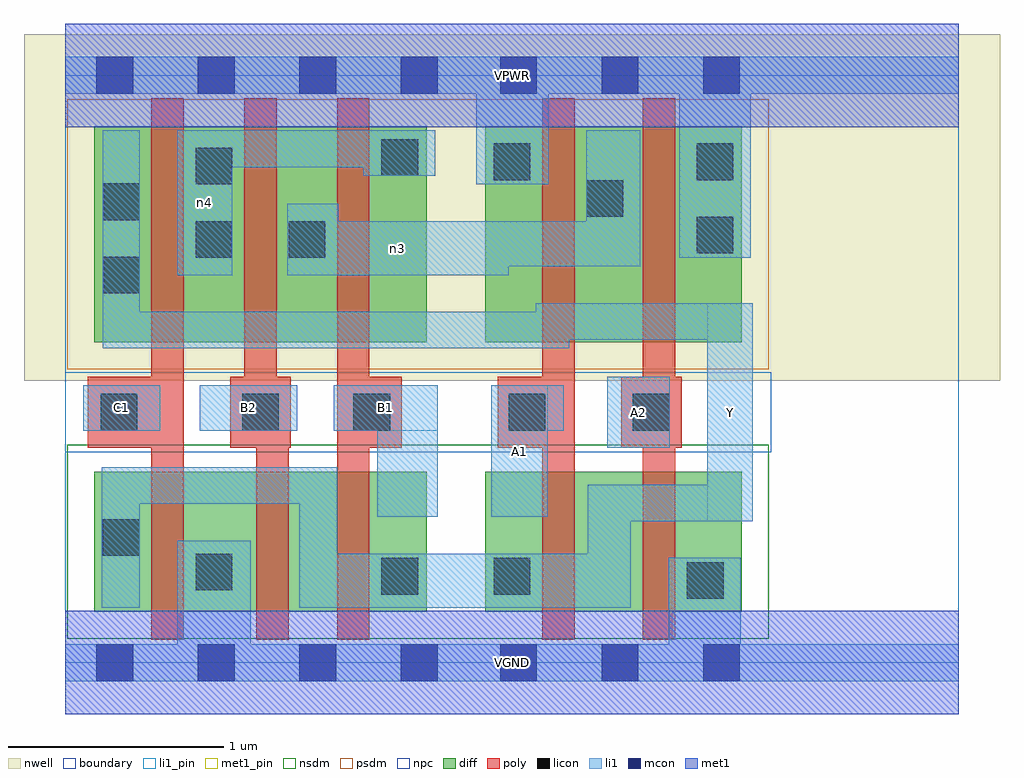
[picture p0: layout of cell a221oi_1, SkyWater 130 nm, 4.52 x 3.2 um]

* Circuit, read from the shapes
.subckt a221oi_1 A1 A2 B1 B2 C1 VGND VPWR Y n3 n4
XM1 VGND C1 Y VSUBS sky130_fd_pr__nfet_01v8 w=0.65 l=0.15
XM2 n1 B2 VGND VSUBS sky130_fd_pr__nfet_01v8 w=0.65 l=0.15
XM3 Y B1 n1 VSUBS sky130_fd_pr__nfet_01v8 w=0.65 l=0.15
XM4 n2 A1 Y VSUBS sky130_fd_pr__nfet_01v8 w=0.65 l=0.15
XM5 VGND A2 n2 VSUBS sky130_fd_pr__nfet_01v8 w=0.65 l=0.15
XM6 n4 C1 Y n5 sky130_fd_pr__pfet_01v8 w=1 l=0.15
XM7 n3 B2 n4 n5 sky130_fd_pr__pfet_01v8 w=1 l=0.15
XM8 n4 B1 n3 n5 sky130_fd_pr__pfet_01v8 w=1 l=0.15
XM9 n3 A1 VPWR n5 sky130_fd_pr__pfet_01v8 w=1 l=0.15
XM10 VPWR A2 n3 n5 sky130_fd_pr__pfet_01v8 w=1 l=0.15
.ends

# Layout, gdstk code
import gdstk
lib = gdstk.Library(unit=1e-6, precision=1e-09)
def R(c, l, rs):  # rectangles x0, y0, x1, y1
    for r in rs: c.add(gdstk.rectangle(r[:2], r[2:], *l))
def A(c, l, x, y, w, h, nx, ny, dx, dy):  # array of equal rectangles
    R(c, l, [(x+i*dx, y+j*dy, x+i*dx+w, y+j*dy+h) for i in range(nx) for j in range(ny)])
nwell = (64, 20)
diff = (65, 20)
poly = (66, 20)
licon = (66, 44)
li1_pin = (67, 16)
li1 = (67, 20)
mcon = (67, 44)
met1_pin = (68, 16)
met1 = (68, 20)
nsdm = (93, 44)
psdm = (94, 20)
npc = (95, 20)
boundary = (235, 4)

a221oi_1 = lib.new_cell('a221oi_1')
R(a221oi_1, nwell, [(-0.19,1.305,4.33,2.91), (0,1.305,4.14,2.91)])
R(a221oi_1, diff, [(0.135,0.235,1.675,0.885), (1.945,0.235,3.135,0.885), (0.135,1.485,1.675,2.485), (1.945,1.485,3.135,2.485)])
R(a221oi_1, poly, [(0.4,0.105,0.55,2.615), (0.885,0.105,1.035,1.325), (1.26,0.105,1.41,2.615), (2.21,0.105,2.36,2.615), (2.675,0.105,2.825,2.615), (0.105,0.995,0.55,1.325), (0.765,0.995,1.045,1.325), (0.83,0.995,0.98,2.615), (1.26,0.995,1.56,1.325), (2.005,0.995,2.36,1.325), (2.575,0.995,2.855,1.325)])
R(a221oi_1, licon, [(2.88,0.295,3.05,0.465), (1.465,0.315,1.635,0.485), (1.985,0.315,2.155,0.485), (0.605,0.335,0.775,0.505), (0.175,0.495,0.345,0.665), (0.165,1.075,0.335,1.245), (0.82,1.075,0.99,1.245), (1.335,1.075,1.505,1.245), (2.055,1.075,2.225,1.245), (2.63,1.075,2.8,1.245), (0.175,1.71,0.345,1.88), (0.605,1.875,0.775,2.045), (1.035,1.875,1.205,2.045), (2.925,1.895,3.095,2.065), (0.175,2.05,0.345,2.22), (2.415,2.065,2.585,2.235), (0.605,2.215,0.775,2.385), (1.985,2.235,2.155,2.405), (2.925,2.235,3.095,2.405), (1.465,2.255,1.635,2.425)])
R(a221oi_1, li1_pin, [(2.975,0.655,3.185,1.665), (1.975,0.675,2.235,1.285), (2.51,0.995,2.8,1.325), (0.085,1.075,0.44,1.285), (0.625,1.075,1.075,1.285), (1.245,1.075,1.725,1.285)])
R(a221oi_1, li1, [(0,-0.085,4.14,0.085), (0.52,-0.085,0.86,0.565), (2.795,-0.085,3.13,0.485), (0.17,0.255,0.345,0.905), (1.085,0.255,1.26,0.905), (1.085,0.255,2.62,0.505), (2.42,0.255,2.62,0.825), (2.42,0.655,3.185,0.825), (2.975,0.655,3.185,1.665), (1.445,0.675,1.725,1.285), (1.975,0.675,2.235,1.285), (0.17,0.735,1.26,0.905), (2.51,0.995,2.8,1.325), (0.085,1.075,0.44,1.285), (0.625,1.075,1.075,1.285), (1.245,1.075,1.725,1.285), (1.975,1.075,2.31,1.285), (0.175,1.455,2.335,1.625), (0.175,1.455,0.345,2.465), (2.18,1.495,3.185,1.665), (0.52,1.795,0.775,2.465), (1.03,1.795,2.055,2.045), (1.03,1.795,1.265,2.125), (1.03,1.835,2.665,2.045), (2.415,1.835,2.665,2.465), (2.845,1.875,3.175,2.805), (1.905,2.215,2.24,2.805), (1.38,2.255,1.715,2.465), (0.52,2.295,1.715,2.465), (0,2.635,4.14,2.805)])
A(a221oi_1, mcon, 0.145, -0.085, 0.17, 0.17, 4, 2, 0.47, 2.72)
A(a221oi_1, mcon, 2.015, -0.085, 0.17, 0.17, 3, 2, 0.47, 2.72)
R(a221oi_1, met1_pin, [(0,-0.24,4.14,0.24), (0,2.48,4.14,2.96)])
R(a221oi_1, met1, [(0,-0.24,4.14,0.24), (0,2.48,4.14,2.96)])
R(a221oi_1, nsdm, [(0.01,0.11,3.26,1.01)])
R(a221oi_1, psdm, [(0.01,1.36,3.26,2.61)])
R(a221oi_1, npc, [(0,0.975,3.27,1.345)])
R(a221oi_1, boundary, [(0,0,4.14,2.72)])
a221oi_1.add(gdstk.Label('A1', (2.105,0.98), layer=67, texttype=5))
a221oi_1.add(gdstk.Label('A2', (2.655,1.16), layer=67, texttype=5))
a221oi_1.add(gdstk.Label('B1', (1.485,1.18), layer=67, texttype=5))
a221oi_1.add(gdstk.Label('B2', (0.85,1.18), layer=67, texttype=5))
a221oi_1.add(gdstk.Label('C1', (0.262,1.18), layer=67, texttype=5))
a221oi_1.add(gdstk.Label('Y', (3.08,1.16), layer=67, texttype=5))
a221oi_1.add(gdstk.Label('n4', (0.647,2.13), layer=67, texttype=5))
a221oi_1.add(gdstk.Label('n3', (1.542,1.92), layer=67, texttype=5))
a221oi_1.add(gdstk.Label('VPWR', (2.07,2.72), layer=68, texttype=5))
a221oi_1.add(gdstk.Label('VGND', (2.07,0), layer=68, texttype=5))
a221oi_1.add(gdstk.Label('A1', (2.105,0.98), layer=67, texttype=16))
a221oi_1.add(gdstk.Label('A2', (2.655,1.16), layer=67, texttype=16))
a221oi_1.add(gdstk.Label('B1', (1.485,1.18), layer=67, texttype=16))
a221oi_1.add(gdstk.Label('B2', (0.85,1.18), layer=67, texttype=16))
a221oi_1.add(gdstk.Label('C1', (0.262,1.18), layer=67, texttype=16))
a221oi_1.add(gdstk.Label('Y', (3.08,1.16), layer=67, texttype=16))
a221oi_1.add(gdstk.Label('VPWR', (2.07,2.72), layer=68, texttype=16))
a221oi_1.add(gdstk.Label('VGND', (2.07,0), layer=68, texttype=16))

lib.write_gds('a221oi_1.gds')
